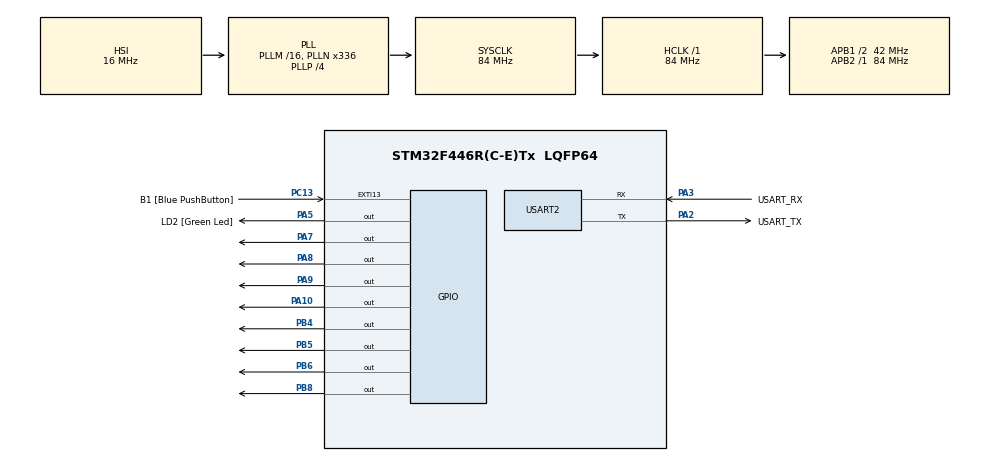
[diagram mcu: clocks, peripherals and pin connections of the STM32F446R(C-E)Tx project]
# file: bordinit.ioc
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Mcu.Family=STM32F4
Mcu.Name=STM32F446R(C-E)Tx
Mcu.Package=LQFP64
NVIC.PriorityGroup=NVIC_PRIORITYGROUP_0
PA10.Signal=GPIO_Output
PA13.GPIO_Label=TMS
PA13.Mode=Serial_Wire
PA13.Signal=SYS_JTMS-SWDIO
PA14.GPIO_Label=TCK
PA14.Mode=Serial_Wire
PA14.Signal=SYS_JTCK-SWCLK
PA2.GPIO_Label=USART_TX
PA2.Mode=Asynchronous
PA2.Signal=USART2_TX
PA3.GPIO_Label=USART_RX
PA3.Mode=Asynchronous
PA3.Signal=USART2_RX
PA5.GPIO_Label=LD2 [Green Led]
PA5.Signal=GPIO_Output
PA7.Signal=GPIO_Output
PA8.Signal=GPIO_Output
PA9.Signal=GPIO_Output
PB3.GPIO_Label=SWO
PB3.Signal=SYS_JTDO-SWO
PB4.Signal=GPIO_Output
PB5.Signal=GPIO_Output
PB6.Signal=GPIO_Output
PB8.Signal=GPIO_Output
PC13.GPIO_Label=B1 [Blue PushButton]
PC13.GPIO_ModeDefaultEXTI=GPIO_MODE_IT_FALLING
PC13.Signal=GPXTI13
PC14-OSC32_IN.Mode=LSE-External-Oscillator
PC14-OSC32_IN.Signal=RCC_OSC32_IN
PC15-OSC32_OUT.Mode=LSE-External-Oscillator
PC15-OSC32_OUT.Signal=RCC_OSC32_OUT
PH0-OSC_IN.Mode=HSE-External-Oscillator
PH0-OSC_IN.Signal=RCC_OSC_IN
PH1-OSC_OUT.Mode=HSE-External-Oscillator
PH1-OSC_OUT.Signal=RCC_OSC_OUT
ProjectManager.HeapSize=0x200
ProjectManager.StackSize=0x400
ProjectManager.TargetToolchain=CMake
RCC.48MHZClocksFreq_Value=84000000
RCC.AHBFreq_Value=84000000
RCC.APB1CLKDivider=RCC_HCLK_DIV2
RCC.APB1Freq_Value=42000000
RCC.APB1TimFreq_Value=84000000
RCC.APB2Freq_Value=84000000
RCC.APB2TimFreq_Value=84000000
RCC.CortexFreq_Value=84000000
RCC.FLatency-AdvancedSettings=FLASH_LATENCY_2
RCC.HCLKFreq_Value=84000000
RCC.HSE_VALUE=8000000
RCC.HSI_VALUE=16000000
RCC.PLLN=336
RCC.PLLP=RCC_PLLP_DIV4
RCC.SYSCLKFreq_VALUE=84000000
RCC.SYSCLKSource=RCC_SYSCLKSOURCE_PLLCLK
RCC.USBFreq_Value=168000000
RCC.VCOOutputFreq_Value=336000000
USART2.VirtualMode=VM_ASYNC
board=NUCLEO-F446RE

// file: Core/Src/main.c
/* USER CODE BEGIN Header */
/**
  ******************************************************************************
  * @file           : main.c
  * @brief          : Main program body
  ******************************************************************************
  * @attention
  *
  * Copyright (c) 2026 STMicroelectronics.
  * All rights reserved.
  *
  * This software is licensed under terms that can be found in the LICENSE file
  * in the root directory of this software component.
  * If no LICENSE file comes with this software, it is provided AS-IS.
  *
  ******************************************************************************
  */
/* USER CODE END Header */
#include "main.h"

UART_HandleTypeDef huart2;

void SystemClock_Config(void);
static void MX_GPIO_Init(void);
static void MX_USART2_UART_Init(void);

int main(void) {

  /* MCU Configuration--------------------------------------------------------*/

  /* Reset of all peripherals, Initializes the Flash interface and the Systick. */
  HAL_Init();

  /* Configure the system clock */
  SystemClock_Config();

  /* Initialize all configured peripherals */
  MX_GPIO_Init();
  MX_USART2_UART_Init();
  /* USER CODE BEGIN 2 */
  uint32_t last9 = 0;
  uint32_t last18 = 0;
  uint32_t last37 = 0;
  uint32_t last75 = 0;
  uint32_t last125 = 0;
  uint32_t last250 = 0;
  uint32_t last500 = 0;
  uint32_t last1000 = 0;

  GPIO_PinState last_button_state = GPIO_PIN_SET;
  uint32_t last_debounce_time = 0;
  /* USER CODE END 2 */

  /* Infinite loop */
  while (1)
  {
    GPIO_PinState current_button_state =
        HAL_GPIO_ReadPin(GPIOC, GPIO_PIN_13);

    if (last_button_state == GPIO_PIN_SET &&
        current_button_state == GPIO_PIN_RESET)
    {
      uint32_t now = HAL_GetTick();

      if (now - last_debounce_time > 50)
      {
        last_debounce_time = now;
        HAL_GPIO_TogglePin(GPIOA, GPIO_PIN_5);
      }
    }

    last_button_state = current_button_state;
    // A10, B5,  B4,  B8, A9, B6, A7, A8
    // 1k 500 250 125 75 37 18 9
    /* USER CODE BEGIN WHILE */
    uint32_t now = HAL_GetTick();

    if (now - last1000 >= 128000) {
      last1000 = now;
      HAL_GPIO_TogglePin(GPIOA, GPIO_PIN_10);
    }

    if (now - last500 >= 64000) {
      last500 = now;
      HAL_GPIO_TogglePin(GPIOB, GPIO_PIN_5);
    }

    if (now - last250 >= 32000) {
      last250 = now;
      HAL_GPIO_TogglePin(GPIOB, GPIO_PIN_4);
    }

    if (now - last125 >= 16000) {
      last125 = now;
      HAL_GPIO_TogglePin(GPIOA, GPIO_PIN_8);
    }

    if (now - last75 >= 8000) {
      last75 = now;
      HAL_GPIO_TogglePin(GPIOA, GPIO_PIN_9);
    }

    if (now - last37 >= 4000) {
      last37 = now;
      HAL_GPIO_TogglePin(GPIOB, GPIO_PIN_6);
    }

    if (now - last18 >= 2000) {
      last18 = now;
      HAL_GPIO_TogglePin(GPIOA, GPIO_PIN_7);
    }

    if (now - last9 >= 1000) {
      last9 = now;
      HAL_GPIO_TogglePin(GPIOB, GPIO_PIN_8);
    }
    /* USER CODE END WHILE */
  }
  /* USER CODE BEGIN 3 */

  // PA10 ->  D2   8k
  // PB5  ->  D4   4k
  // PB4  ->  D5   2k
  // PA8  ->  D7   1k
  // PA9  ->  D8   500
  // PB6  ->  D10  250
  // PA7  ->  D11  125
  // PB8  ->  D15  75

  // 10, 5,  4,  8, 9, 6, 7, 8
  // 1k 500 250 125 75 37 18 9
  /* USER CODE END 3 */
}
void SystemClock_Config(void)
{
  RCC_OscInitTypeDef RCC_OscInitStruct = {0};
  RCC_ClkInitTypeDef RCC_ClkInitStruct = {0};

  /** Configure the main internal regulator output voltage
  */
  __HAL_RCC_PWR_CLK_ENABLE();
  __HAL_PWR_VOLTAGESCALING_CONFIG(PWR_REGULATOR_VOLTAGE_SCALE3);

  /** Initializes the RCC Oscillators according to the specified parameters
  * in the RCC_OscInitTypeDef structure.
  */
  RCC_OscInitStruct.OscillatorType = RCC_OSCILLATORTYPE_HSI;
  RCC_OscInitStruct.HSIState = RCC_HSI_ON;
  RCC_OscInitStruct.HSICalibrationValue = RCC_HSICALIBRATION_DEFAULT;
  RCC_OscInitStruct.PLL.PLLState = RCC_PLL_ON;
  RCC_OscInitStruct.PLL.PLLSource = RCC_PLLSOURCE_HSI;
  RCC_OscInitStruct.PLL.PLLM = 16;
  RCC_OscInitStruct.PLL.PLLN = 336;
  RCC_OscInitStruct.PLL.PLLP = RCC_PLLP_DIV4;
  RCC_OscInitStruct.PLL.PLLQ = 2;
  RCC_OscInitStruct.PLL.PLLR = 2;
  if (HAL_RCC_OscConfig(&RCC_OscInitStruct) != HAL_OK)
  {
    Error_Handler();
  }

  /** Initializes the CPU, AHB and APB buses clocks
  */
  RCC_ClkInitStruct.ClockType = RCC_CLOCKTYPE_HCLK|RCC_CLOCKTYPE_SYSCLK
                              |RCC_CLOCKTYPE_PCLK1|RCC_CLOCKTYPE_PCLK2;
  RCC_ClkInitStruct.SYSCLKSource = RCC_SYSCLKSOURCE_PLLCLK;
  RCC_ClkInitStruct.AHBCLKDivider = RCC_SYSCLK_DIV1;
  RCC_ClkInitStruct.APB1CLKDivider = RCC_HCLK_DIV2;
  RCC_ClkInitStruct.APB2CLKDivider = RCC_HCLK_DIV1;

  if (HAL_RCC_ClockConfig(&RCC_ClkInitStruct, FLASH_LATENCY_2) != HAL_OK)
  {
    Error_Handler();
  }
}

static void MX_USART2_UART_Init(void)
{

  huart2.Instance = USART2;
  huart2.Init.BaudRate = 115200;
  huart2.Init.WordLength = UART_WORDLENGTH_8B;
  huart2.Init.StopBits = UART_STOPBITS_1;
  huart2.Init.Parity = UART_PARITY_NONE;
  huart2.Init.Mode = UART_MODE_TX_RX;
  huart2.Init.HwFlowCtl = UART_HWCONTROL_NONE;
  huart2.Init.OverSampling = UART_OVERSAMPLING_16;
  if (HAL_UART_Init(&huart2) != HAL_OK)
  {
    Error_Handler();
  }

}

static void MX_GPIO_Init(void)
{
  GPIO_InitTypeDef GPIO_InitStruct = {0};

  /* GPIO Ports Clock Enable */
  __HAL_RCC_GPIOC_CLK_ENABLE();
  __HAL_RCC_GPIOH_CLK_ENABLE();
  __HAL_RCC_GPIOA_CLK_ENABLE();
  __HAL_RCC_GPIOB_CLK_ENABLE();

  /*Configure GPIO pin Output Level */
  HAL_GPIO_WritePin(GPIOA, LD2_Pin|GPIO_PIN_7|GPIO_PIN_8|GPIO_PIN_9
                          |GPIO_PIN_10, GPIO_PIN_RESET);

  /*Configure GPIO pin Output Level */
  HAL_GPIO_WritePin(GPIOB, GPIO_PIN_4|GPIO_PIN_5|GPIO_PIN_6|GPIO_PIN_8, GPIO_PIN_RESET);

  /*Configure GPIO pin : B1_Pin */
  GPIO_InitStruct.Pin = B1_Pin;
  GPIO_InitStruct.Mode = GPIO_MODE_IT_FALLING;
  GPIO_InitStruct.Pull = GPIO_NOPULL;
  HAL_GPIO_Init(B1_GPIO_Port, &GPIO_InitStruct);

  /*Configure GPIO pins : LD2_Pin PA7 PA8 PA9
                           PA10 */
  GPIO_InitStruct.Pin = LD2_Pin|GPIO_PIN_7|GPIO_PIN_8|GPIO_PIN_9
                          |GPIO_PIN_10;
  GPIO_InitStruct.Mode = GPIO_MODE_OUTPUT_PP;
  GPIO_InitStruct.Pull = GPIO_NOPULL;
  GPIO_InitStruct.Speed = GPIO_SPEED_FREQ_LOW;
  HAL_GPIO_Init(GPIOA, &GPIO_InitStruct);

  /*Configure GPIO pins : PB4 PB5 PB6 PB8 */
  GPIO_InitStruct.Pin = GPIO_PIN_4|GPIO_PIN_5|GPIO_PIN_6|GPIO_PIN_8;
  GPIO_InitStruct.Mode = GPIO_MODE_OUTPUT_PP;
  GPIO_InitStruct.Pull = GPIO_NOPULL;
  GPIO_InitStruct.Speed = GPIO_SPEED_FREQ_LOW;
  HAL_GPIO_Init(GPIOB, &GPIO_InitStruct);

  /* USER CODE BEGIN MX_GPIO_Init_2 */
  // PA7  ->  D11
  // PA8  ->  D7
  // PA9  ->  D8
  // PA10 ->  D2
  //
  // PB8  ->  D15
  // PB6  ->  D10
  // PB5  ->  D4
  // PB4  ->  D5
  /* USER CODE END MX_GPIO_Init_2 */
}

void Error_Handler(void)
{
    __disable_irq();
    while (1)
    {
    }
}
